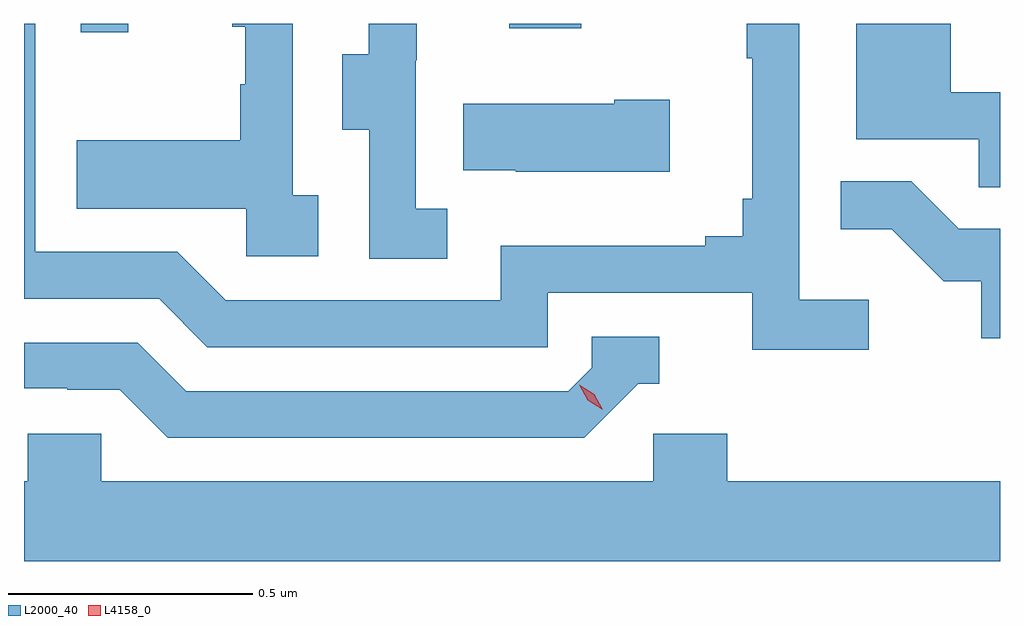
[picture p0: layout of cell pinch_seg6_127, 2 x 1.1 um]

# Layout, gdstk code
import gdstk
lib = gdstk.Library(unit=1e-6, precision=1e-09)
def R(c, l, rs):  # rectangles x0, y0, x1, y1
    for r in rs: c.add(gdstk.rectangle(r[:2], r[2:], *l))
def P(c, l, *ps):  # polygons
    for p in ps: c.add(gdstk.Polygon(p, *l))
L2000_40 = (2000, 40)
L4158_0 = (4158, 0)

pinch_seg6_127 = lib.new_cell('pinch_seg6_127')
R(pinch_seg6_127, L2000_40, [(960.531,928.44,960.629,928.458), (961.409,928.449,961.557,928.458)])
P(pinch_seg6_127, L2000_40, [(961.018,928.106),(960.966,928.106),(960.966,928.458),(960.842,928.458),(960.842,928.452),(960.868,928.452),(960.868,928.334),(960.858,928.334),(960.858,928.219),(960.523,928.219),(960.523,928.079),(960.87,928.079),(960.87,927.981),(961.018,927.981)],
  [(962.146,927.892),(962.004,927.892),(962.004,928.458),(961.896,928.458),(961.896,928.387),(961.907,928.387),(961.907,928.099),(961.888,928.099),(961.888,928.022),(961.811,928.022),(961.811,928.003),(961.392,928.003),(961.392,927.891),(960.828,927.891),(960.729,927.99),(960.438,927.99),(960.438,928.458),(960.415,928.458),(960.415,927.894),(960.692,927.894),(960.791,927.795),(961.488,927.795),(961.488,927.906),(961.907,927.906),(961.907,927.79),(962.146,927.79)],
  [(962.415,928.317),(962.314,928.317),(962.314,928.458),(962.12,928.458),(962.12,928.221),(962.371,928.221),(962.371,928.123),(962.415,928.123)],
  [(961.282,928.079),(961.218,928.079),(961.218,928.383),(961.22,928.383),(961.22,928.458),(961.121,928.458),(961.121,928.395),(961.067,928.395),(961.067,928.24),(961.122,928.24),(961.122,927.976),(961.282,927.976)],
  [(961.738,928.302),(961.625,928.302),(961.625,928.294),(961.315,928.294),(961.315,928.157),(961.423,928.157),(961.423,928.154),(961.738,928.154)],
  [(962.415,928.038),(962.33,928.038),(962.233,928.135),(962.089,928.135),(962.089,928.037),(962.193,928.037),(962.3,927.93),(962.377,927.93),(962.377,927.813),(962.415,927.813)],
  [(961.674,927.72),(961.717,927.72),(961.717,927.816),(961.578,927.816),(961.578,927.753),(961.53,927.705),(960.747,927.705),(960.648,927.804),(960.415,927.804),(960.415,927.711),(960.504,927.711),(960.504,927.708),(960.611,927.708),(960.71,927.609),(961.563,927.609)],
  [(962.415,927.52),(961.856,927.52),(961.856,927.618),(961.704,927.618),(961.704,927.52),(960.573,927.52),(960.573,927.618),(960.423,927.618),(960.423,927.52),(960.415,927.52),(960.415,927.356),(962.415,927.356)])
P(pinch_seg6_127, L4158_0, [(961.601,927.667),(961.57,927.686),(961.553,927.718),(961.553,927.718),(961.553,927.718),(961.584,927.699),(961.601,927.667),(961.601,927.667)])

lib.write_gds('pinch_seg6_127.gds')
